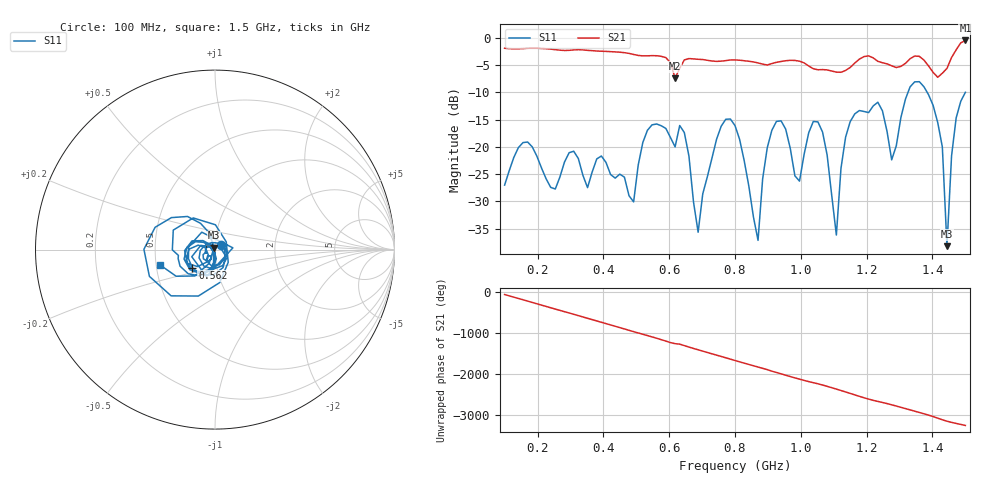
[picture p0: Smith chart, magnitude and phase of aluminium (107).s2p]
! NanoVNA-App
! Date: 2025-09-25 14:56:06
! Start: 100MHz Stop: 1,5GHz Points: 101
! S-Parameter data: F S11 S21 S12 S22
# Hz S RI R 50
!  Frequency  S11_Real  S11_Imag  S21_Real  S21_Imag  S12_Real  S12_Imag  S22_Real  S22_Imag
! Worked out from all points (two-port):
!   101 points, 100 MHz to 1.5 GHz, reference 50 ohm
!   highest |S21| = -0.49 dB at 1.5 GHz (marker M1); lowest = -7.4 dB at 618 MHz (marker M2)
!   |S21| within 3 dB of the highest: start of sweep to 581.3 MHz; 1.459 GHz to end of sweep (the widest 2 of 4)
!   lowest |S11| = -38.2 dB at 1.444 GHz (marker M3), VSWR 1.02, Z = 49.4 + j1.09 ohm
!   |S11| at or under -10 dB: start of sweep to 1.326 GHz; 1.384 GHz to 1.5 GHz (116 MHz wide, 8.04 % of centre)
!   S12 and S22 are empty: the file has one direction only
!   S11 on the Smith chart (normalised r, x): 100 MHz: 1.07, +0.06; 562 MHz: 0.76, -0.16; 1.5 GHz: 0.53, -0.10
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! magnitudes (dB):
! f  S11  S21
! 100 MHz  -27.0  -1.9
! 338 MHz  -25.2  -2.2
! 492 MHz  -30.1  -3.1
! 562 MHz  -15.8  -3.3
! 576 MHz  -16.1  -3.4
! 618 MHz  -20.0  -7.4
! 646 MHz  -17.4  -4.1
! 688 MHz  -35.6  -3.9
! 800 MHz  -16.1  -4.1
! 870 MHz  -37.1  -4.6
! 912 MHz  -16.9  -4.7
! 996 MHz  -26.3  -4.3
! 1.038 GHz  -15.3  -5.7
! 1.108 GHz  -36.1  -6.3
! 1.164 GHz  -13.9  -4.6
! 1.234 GHz  -11.8  -4.3
! 1.276 GHz  -22.4  -5.1
! 1.374 GHz  -9.0  -4.1
! 1.43 GHz  -20.0  -6.5
! 1.444 GHz  -38.2  -5.6
! 1.458 GHz  -21.6  -3.6
! 1.5 GHz  -10.0  -0.5
